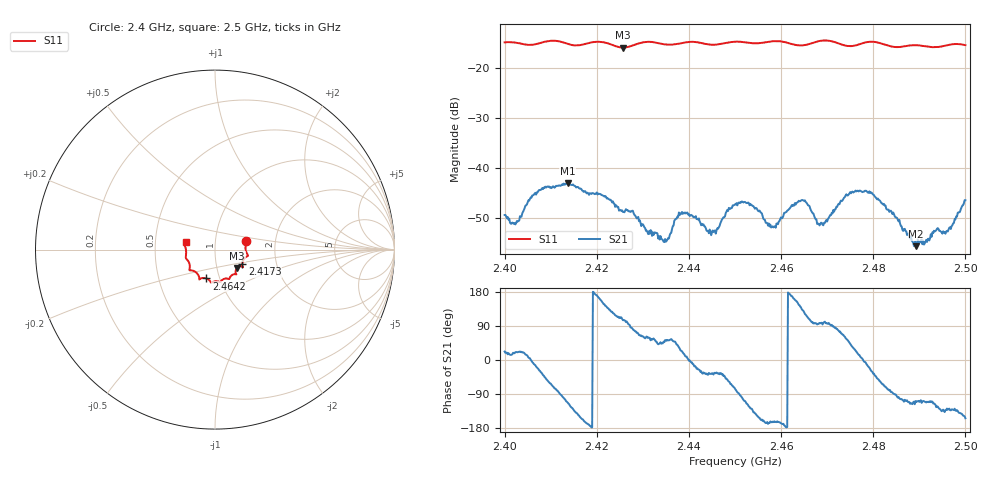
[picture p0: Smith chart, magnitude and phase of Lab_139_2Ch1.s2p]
# Hz S RI R 50
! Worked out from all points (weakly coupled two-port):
!   601 points, 2.4 GHz to 2.5 GHz, reference 50 ohm
!   highest |S21| = -42.97 dB at 2.4137 GHz (marker M1); lowest = -55.6 dB at 2.4893 GHz (marker M2)
!   lowest |S11| = -15.9 dB at 2.4257 GHz (marker M3), VSWR 1.38, Z = 62.4 - j13.1 ohm
!   |S11| at or under -10 dB: start of sweep to end of sweep
!   S12 and S22 are empty: the file has one direction only
!   S11 on the Smith chart (normalised r, x): 2.4 GHz: 1.41, +0.14; 2.4173 GHz: 1.34, -0.23; 2.4642 GHz: 0.86, -0.29; 2.5 GHz: 0.72, +0.06
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2.4e9  0.1735 0.0492  0.00314 0.00129  0 0  0 0
2.4025e9  0.1747 0.038  0.00263 0.00102  0 0  0 0
2.407e9  0.1733 -0.011  0.0054 -0.0019  0 0  0 0
2.413667e9  0.1684 -0.0445  -0.00267 -0.00658  0 0  0 0
2.416667e9  0.1527 -0.0749  -0.00555 -0.00266  0 0  0 0
2.417333e9  0.1521 -0.0824  -0.00558 -0.00177  0 0  0 0
2.425667e9  0.1224 -0.1025  -0.00095 0.00351  0 0  0 0
2.433333e9  0.1127 -0.1366  0.00148 0.00131  0 0  0 0
2.435167e9  0.1001 -0.1389  0.00119 0.00145  0 0  0 0
2.439e9  0.0809 -0.1598  0.00347 0.000927  0 0  0 0
2.445333e9  0.0523 -0.1623  0.00181 -0.00142  0 0  0 0
2.45e9  0.0295 -0.1806  0.00108 -0.0042  0 0  0 0
2.453333e9  0.0153 -0.1768  -0.00268 -0.00347  0 0  0 0
2.458333e9  -0.0199 -0.1842  -0.00246 -0.000706  0 0  0 0
2.464167e9  -0.0482 -0.1609  -0.00362 0.00294  0 0  0 0
2.466667e9  -0.0762 -0.1595  -0.000598 0.00361  0 0  0 0
2.4695e9  -0.0875 -0.1666  -0.000552 0.00278  0 0  0 0
2.476667e9  -0.1234 -0.1175  0.00568 0.0017  0 0  0 0
2.483333e9  -0.1405 -0.0895  0.000804 -0.00376  0 0  0 0
2.489333e9  -0.1626 -0.0448  -0.000596 -0.00155  0 0  0 0
2.495833e9  -0.1668 0.0183  -0.00155 -0.00173  0 0  0 0
2.5e9  -0.1637 0.0416  -0.00427 -0.00212  0 0  0 0
